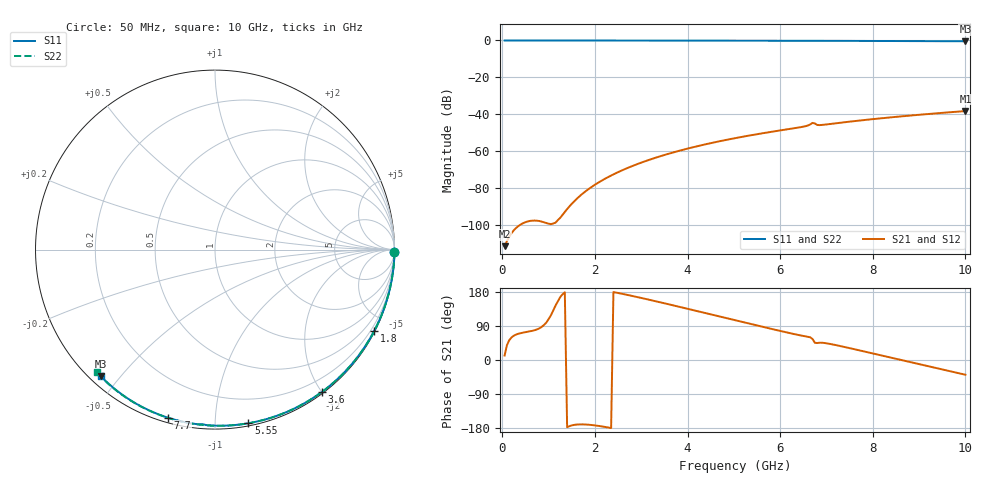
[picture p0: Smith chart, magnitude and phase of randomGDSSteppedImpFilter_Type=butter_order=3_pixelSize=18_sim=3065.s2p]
! freq	dB(S11)	phase(S11)	dB(S12)	phase(S12)
!  dB(S21)	phase(S21)	dB(S22)	phase(S22)
!S-par simulation data
#  GHz  S  DB  R 50
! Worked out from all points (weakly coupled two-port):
!   200 points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, 50 MHz to 10 GHz, reference 50 ohm
!   highest |S21| = -38.28 dB at 10 GHz (marker M1); lowest = -111.5 dB at 50 MHz (marker M2)
!   lowest |S11| = -0.4 dB at 10 GHz (marker M3), VSWR 38.76, Z = 1.54 - j22.2 ohm
!   |S11| at or under -10 dB: nowhere
!   |S22| runs from -0.4 to 0.0 dB; largest |S21 - S12| = 0
!   S11 on the Smith chart (normalised r, x): 50 MHz: open; 1.8 GHz: 0.04, -4.15; 3.6 GHz: 0.02, -2.01; 5.55 GHz: 0.02, -1.21; 7.7 GHz: 0.02, -0.76; 10 GHz: 0.03, -0.44
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0.05  -0.00 -0.8  -111.52 11.9  -111.52 11.9  -0.00 -0.8
0.9  -0.02 -13.7  -98.60 92.5  -98.60 92.5  -0.02 -13.8
1.75  -0.03 -26.4  -82.73 -170.0  -82.73 -170.0  -0.03 -26.5
1.8  -0.03 -27.1  -81.74 -170.2  -81.74 -170.2  -0.03 -27.3
1.9  -0.04 -28.6  -79.90 -171.2  -79.90 -171.2  -0.04 -28.8
2.25  -0.04 -33.7  -74.52 -177.3  -74.52 -177.3  -0.04 -33.9
2.65  -0.05 -39.5  -69.71 173.1  -69.71 173.1  -0.05 -39.8
3  -0.06 -44.5  -66.24 163.8  -66.24 163.8  -0.06 -44.8
3.4  -0.07 -50.2  -62.86 152.6  -62.86 152.6  -0.07 -50.5
3.6  -0.07 -53.0  -61.35 146.8  -61.35 146.8  -0.07 -53.4
4.25  -0.09 -61.9  -57.09 127.9  -57.09 127.9  -0.09 -62.4
5.05  -0.11 -72.6  -52.85 104.3  -52.85 104.3  -0.11 -73.2
5.55  -0.13 -79.1  -50.60 89.7  -50.60 89.7  -0.13 -79.7
6.5  -0.17 -91.2  -46.74 63.5  -46.74 63.5  -0.17 -91.9
6.6  -0.18 -92.5  -46.09 61.5  -46.09 61.5  -0.18 -93.1
6.7  -0.21 -93.7  -44.69 55.3  -44.69 55.3  -0.18 -94.3
6.75  -0.22 -94.1  -45.00 45.4  -45.00 45.4  -0.18 -95.0
6.8  -0.20 -94.7  -45.80 44.8  -45.80 44.8  -0.19 -95.6
6.85  -0.20 -95.3  -45.91 45.6  -45.91 45.6  -0.19 -96.2
7.7  -0.24 -105.6  -43.45 25.8  -43.45 25.8  -0.24 -106.6
8.35  -0.29 -113.3  -41.78 7.5  -41.78 7.5  -0.29 -114.4
10  -0.45 -132.2  -38.28 -38.9  -38.28 -38.9  -0.45 -134.0
